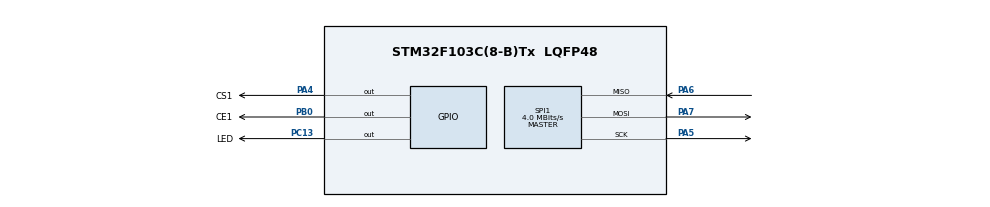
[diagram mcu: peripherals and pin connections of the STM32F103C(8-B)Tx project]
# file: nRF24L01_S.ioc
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Mcu.Family=STM32F1
Mcu.Name=STM32F103C(8-B)Tx
Mcu.Package=LQFP48
NVIC.PriorityGroup=NVIC_PRIORITYGROUP_4
NVIC.SPI1_IRQn=true\:0\:0\:false\:false\:true\:true\:true\:true
PA4.GPIO_Label=CS1
PA4.Signal=GPIO_Output
PA5.Mode=Full_Duplex_Master
PA5.Signal=SPI1_SCK
PA6.Mode=Full_Duplex_Master
PA6.Signal=SPI1_MISO
PA7.Mode=Full_Duplex_Master
PA7.Signal=SPI1_MOSI
PB0.GPIO_Label=CE1
PB0.Signal=GPIO_Output
PC13-TAMPER-RTC.GPIO_Label=LED
PC13-TAMPER-RTC.Signal=GPIO_Output
PC14-OSC32_IN.Mode=LSE-External-Oscillator
PC14-OSC32_IN.Signal=RCC_OSC32_IN
PC15-OSC32_OUT.Mode=LSE-External-Oscillator
PC15-OSC32_OUT.Signal=RCC_OSC32_OUT
PD0-OSC_IN.Mode=HSE-External-Oscillator
PD0-OSC_IN.Signal=RCC_OSC_IN
PD1-OSC_OUT.Mode=HSE-External-Oscillator
PD1-OSC_OUT.Signal=RCC_OSC_OUT
ProjectManager.HeapSize=0x200
ProjectManager.StackSize=0x400
ProjectManager.TargetToolchain=STM32CubeIDE
RCC.APB1Freq_Value=8000000
RCC.APB2Freq_Value=8000000
SPI1.CalculateBaudRate=4.0 MBits/s
SPI1.Direction=SPI_DIRECTION_2LINES
SPI1.Mode=SPI_MODE_MASTER
SPI1.VirtualType=VM_MASTER
board=custom

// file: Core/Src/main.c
/* USER CODE BEGIN Header */
/**
 ******************************************************************************
 * @file           : main.c
 * @brief          : Main program body
 ******************************************************************************
 * @attention
 *
 * Copyright (c) 2022 STMicroelectronics.
 * All rights reserved.
 *
 * This software is licensed under terms that can be found in the LICENSE file
 * in the root directory of this software component.
 * If no LICENSE file comes with this software, it is provided AS-IS.
 *
 ******************************************************************************
 */
/* USER CODE END Header */
#include "main.h"
#include "spi.h"
#include "gpio.h"

/* USER CODE BEGIN Includes */
#include "tm_stm32_nrf24l01.h"
#include "defines.h"
/* USER CODE END Includes */

void SystemClock_Config(void);

/* USER CODE BEGIN 0 */
/* Receiver address */
uint8_t TxAddress[] = { 0xE7, 0xE7, 0xE7, 0xE7, 0xE7 };
/* My address */
uint8_t MyAddress[] = { 0x7E, 0x7E, 0x7E, 0x7E, 0x7E };

uint8_t dataOut[32], dataIn[32];
/* USER CODE END 0 */

int main(void) {
	/* USER CODE BEGIN 1 */
	TM_NRF24L01_Transmit_Status_t transmissionStatus;
	/* USER CODE END 1 */

	/* MCU Configuration--------------------------------------------------------*/

	/* Reset of all peripherals, Initializes the Flash interface and the Systick. */
	HAL_Init();

	/* Configure the system clock */
	SystemClock_Config();

	/* Initialize all configured peripherals */
	MX_GPIO_Init();
	MX_SPI1_Init();
	/* USER CODE BEGIN 2 */

	/* Initialize NRF24L01+ on channel 15 and 32bytes of payload */
	/* By default 2Mbps data rate and 0dBm output power */
	/* NRF24L01 goes to RX mode by default */
	TM_NRF24L01_Init(15, 32);

	/* Set RF settings, Data rate to 2Mbps, Output power to -18dBm */
	TM_NRF24L01_SetRF(TM_NRF24L01_DataRate_2M, TM_NRF24L01_OutputPower_M18dBm);

	/* Set my address, 5 bytes */
	TM_NRF24L01_SetMyAddress((uint8_t*)MyAddress);
	/* Set TX address, 5 bytes */
	TM_NRF24L01_SetTxAddress((uint8_t*)TxAddress);

	uint8_t test=0;
	/* USER CODE END 2 */

	/* Infinite loop */
	/* USER CODE BEGIN WHILE */
	while (1) {
		test = TM_NRF24L01_DataReady();
		if (test) {
			/* Get data from NRF24L01+ */
			TM_NRF24L01_GetData((uint8_t*)dataIn);

			/* Send it back, automatically goes to TX mode */
			TM_NRF24L01_Transmit((uint8_t*)dataIn);

			/* Start send */
			LED_ON();
			/* Wait for data to be sent */
			do {
				transmissionStatus = TM_NRF24L01_GetTransmissionStatus();
			} while (transmissionStatus == TM_NRF24L01_Transmit_Status_Sending);
			/* Send done */
			LED_OFF();

			/* Go back to RX Mode */
			TM_NRF24L01_PowerUpRx();
		}
		asm ("nop");
		/* USER CODE END WHILE */

	}
}

void SystemClock_Config(void) {
	RCC_OscInitTypeDef RCC_OscInitStruct = { 0 };
	RCC_ClkInitTypeDef RCC_ClkInitStruct = { 0 };

	/** Initializes the RCC Oscillators according to the specified parameters
	 * in the RCC_OscInitTypeDef structure.
	 */
	RCC_OscInitStruct.OscillatorType = RCC_OSCILLATORTYPE_HSI;
	RCC_OscInitStruct.HSIState = RCC_HSI_ON;
	RCC_OscInitStruct.HSICalibrationValue = RCC_HSICALIBRATION_DEFAULT;
	RCC_OscInitStruct.PLL.PLLState = RCC_PLL_NONE;
	if (HAL_RCC_OscConfig(&RCC_OscInitStruct) != HAL_OK) {
		Error_Handler();
	}

	/** Initializes the CPU, AHB and APB buses clocks
	 */
	RCC_ClkInitStruct.ClockType = RCC_CLOCKTYPE_HCLK | RCC_CLOCKTYPE_SYSCLK
			| RCC_CLOCKTYPE_PCLK1 | RCC_CLOCKTYPE_PCLK2;
	RCC_ClkInitStruct.SYSCLKSource = RCC_SYSCLKSOURCE_HSI;
	RCC_ClkInitStruct.AHBCLKDivider = RCC_SYSCLK_DIV1;
	RCC_ClkInitStruct.APB1CLKDivider = RCC_HCLK_DIV1;
	RCC_ClkInitStruct.APB2CLKDivider = RCC_HCLK_DIV1;

	if (HAL_RCC_ClockConfig(&RCC_ClkInitStruct, FLASH_LATENCY_0) != HAL_OK) {
		Error_Handler();
	}
}

void Error_Handler(void) {
	__disable_irq();
	while (1) {
	}
}
